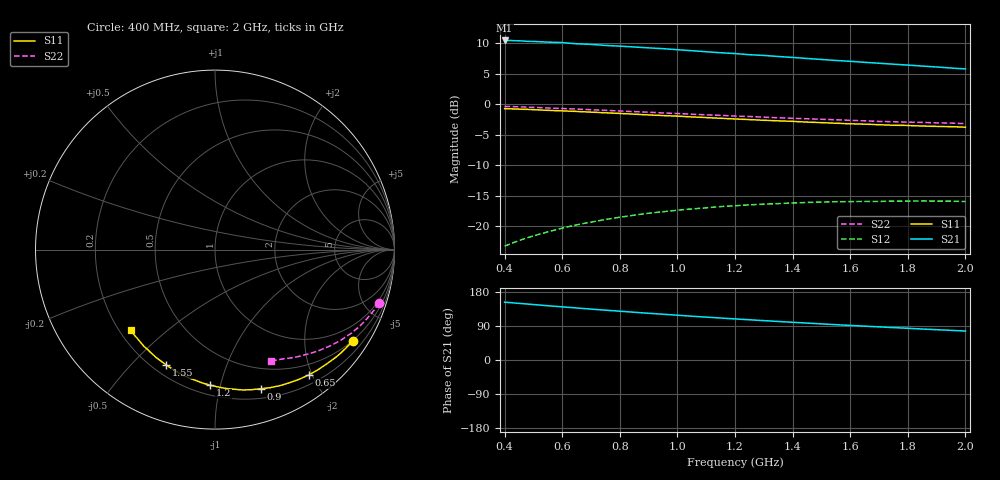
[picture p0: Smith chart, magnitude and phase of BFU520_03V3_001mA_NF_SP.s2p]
! Filename:  P:\Prog\Test\Noise\ATS_data\Testdata_Net\06 Compressed Noise after Statistics\BFU520_APG2013_37_A05_03p3V_001mA_NF_CM01_D.sf
! Date/Time: Fri 26/Apr/2013 14:13:07
! BFU520_APG2013_37_A05_03p3V_1to20mA_NF_CM01_Bias1_R.sf
! Noise Parameter Data File
! BFU520_APG2013_37_A05_03p3V_1to20mA_NF_CM01
! Date/time: Tue Apr 23 15:18:41 2013
! freq range =  0.4000 to  2.0000 GHz, 37 points
! bias range =  1.0050 to 19.9950 mA, 8 points
! bias supplies used: 1 1 0 0 0 0
! VAR bias_mode= 1  ! Specify V_out, I_out
! VAR bias_var = 1  ! Bias variable = I_out
! VAR V_out= 3.301000
! VAR I_out= 1.005000
! VAR V_in= 0.791900
! VAR I_in= 0.011201
! Device data file deembeded for feedlines and parallel
! Original file: \06 Compressed Noise after Statistics\BFU520_APG2013_37_A05_03p3V_001mA_NF_CM01_R.sf
! Feed-files: PR047V01_250413_Feed1.s2p, PR047V01_250413_Feed2.s2p
! Parallel-file: PR047V01_250413_Par.s2p
# MHz S MA R 50
!  Freq-MHz  S11-mag  S11-arg  S21-mag  S21-arg  S12-mag  S12-arg  S22-mag  S22-arg
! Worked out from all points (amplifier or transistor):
!   37 points, 400 MHz to 2 GHz, reference 50 ohm
!   highest |S21| = 10.5 dB at 400 MHz (marker M1)
!   |S21| within 3 dB of that: start of sweep to 1.463 GHz
!   unconditionally stable (mu >= 1): nowhere
!   at 500 MHz: K = 0.13, MSG = 16.0 dB, |S12| = -21.6 dB
!   at 1.1 GHz: K = 0.27, MSG = 12.8 dB, |S12| = -17.0 dB
!   at 2 GHz: K = 0.50, MSG = 10.9 dB, |S12| = -16.0 dB
!   lowest NFmin = 0.39 dB at 1.8 GHz
!   S11 on the Smith chart (normalised r, x): 400 MHz: 0.49, -3.25; 650 MHz: 0.33, -1.95; 900 MHz: 0.29, -1.34; 1.2 GHz: 0.26, -0.93; 1.55 GHz: 0.25, -0.63; 2 GHz: 0.25, -0.38
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400  0.92 -33.6  3.338 152.6  0.06821 67.9  0.9596 -18.0
420  0.9161 -35.3  3.337 151.4  0.07132 66.8  0.956 -18.9
460  0.9091 -38.5  3.309 148.8  0.07729 64.8  0.9504 -20.6
480  0.9061 -40.0  3.278 147.6  0.08005 63.7  0.9454 -21.4
500  0.902 -41.6  3.277 146.3  0.08286 62.8  0.9417 -22.2
550  0.8901 -45.8  3.236 143.2  0.08942 60.2  0.9311 -24.2
600  0.8813 -49.6  3.207 140.2  0.09594 57.9  0.9216 -26.1
650  0.8718 -53.3  3.133 137.3  0.1021 55.6  0.9118 -28.0
700  0.8605 -57.3  3.102 134.3  0.1075 53.2  0.9006 -29.8
750  0.8498 -60.9  3.037 131.5  0.113 51.1  0.8907 -31.6
800  0.8396 -64.6  2.999 128.8  0.1179 49.0  0.8787 -33.2
900  0.8163 -71.8  2.901 123.3  0.1272 45.0  0.8596 -36.5
950  0.8066 -75.4  2.858 120.8  0.1308 42.9  0.8475 -38.1
1050  0.7859 -82.1  2.75 115.6  0.1379 39.1  0.8274 -41.1
1200  0.7562 -92.0  2.605 108.4  0.1465 33.9  0.7994 -45.3
1250  0.7474 -95.0  2.55 106.2  0.1491 32.5  0.7923 -46.4
1300  0.7376 -98.2  2.515 103.9  0.151 30.8  0.7824 -47.8
1500  0.7057 -110.0  2.331 95.3  0.1571 24.9  0.7519 -52.6
1550  0.6978 -112.9  2.286 93.2  0.1581 23.5  0.7452 -53.7
1750  0.6717 -123.9  2.131 85.5  0.16 18.5  0.7174 -58.1
1850  0.6618 -129.1  2.056 81.7  0.1605 16.2  0.7087 -60.1
2000  0.6472 -136.5  1.948 76.5  0.1587 13.1  0.6924 -63.3
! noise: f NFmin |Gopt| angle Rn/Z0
400  0.5175  0.6672  21.39  0.3529
460  0.5059  0.6578  24  0.3518
600  0.5504  0.6787  31.1  0.3337
800  0.6321  0.6561  40.26  0.3275
1000  0.7083  0.6562  51.11  0.309
1200  0.781  0.6463  60.94  0.2997
1400  0.795  0.5939  72.7  0.2466
1600  0.8066  0.5327  84.09  0.1988
1800  0.3892  0.5333  97.81  0.1163
2000  1.054  0.6184  105.8  0.1738
